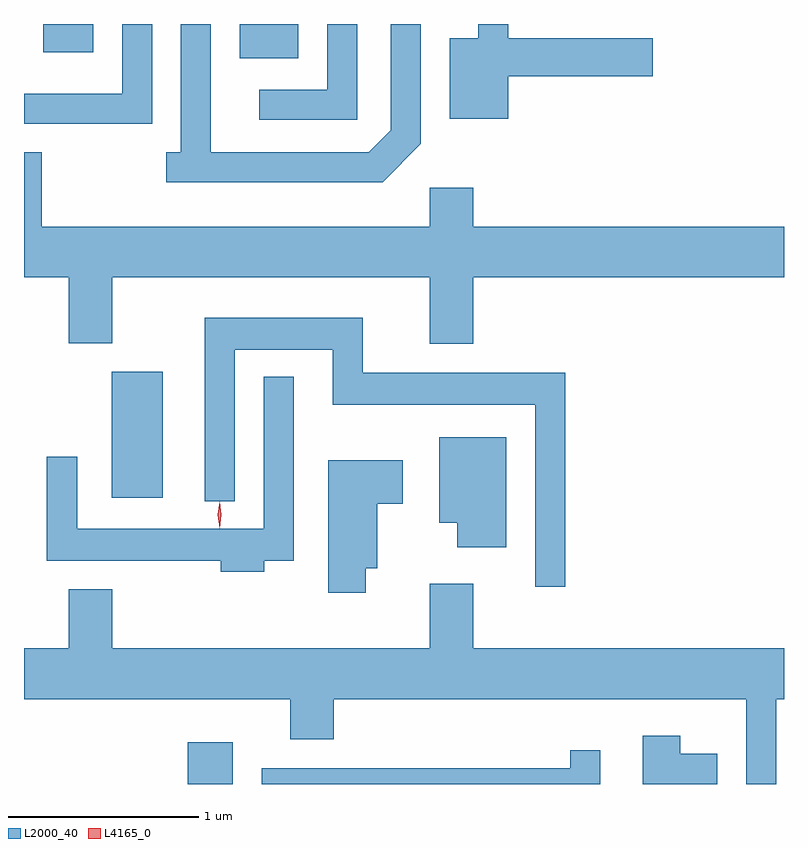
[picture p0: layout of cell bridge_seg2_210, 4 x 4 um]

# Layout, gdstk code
import gdstk
lib = gdstk.Library(unit=1e-6, precision=1e-09)
def R(c, l, rs):  # rectangles x0, y0, x1, y1
    for r in rs: c.add(gdstk.rectangle(r[:2], r[2:], *l))
def P(c, l, *ps):  # polygons
    for p in ps: c.add(gdstk.Polygon(p, *l))
L2000_40 = (2000, 40)
L4165_0 = (4165, 0)

bridge_seg2_210 = lib.new_cell('bridge_seg2_210')
R(bridge_seg2_210, L2000_40, [(543.856,1103.37,544.094,1103.589), (543.456,1104.876,543.724,1105.539), (544.131,1107.191,544.439,1107.37), (543.096,1107.221,543.359,1107.37)])
P(bridge_seg2_210, L2000_40, [(543.669,1107.37),(543.511,1107.37),(543.511,1107.004),(542.995,1107.004),(542.995,1106.846),(543.669,1106.846)],
  [(545.544,1107.096),(546.304,1107.096),(546.304,1107.294),(545.544,1107.294),(545.544,1107.37),(545.386,1107.37),(545.386,1107.294),(545.236,1107.294),(545.236,1106.871),(545.544,1106.871)],
  [(544.749,1107.37),(544.591,1107.37),(544.591,1107.024),(544.233,1107.024),(544.233,1106.866),(544.749,1106.866)],
  [(545.084,1106.739),(545.084,1107.37),(544.926,1107.37),(544.926,1106.812),(544.809,1106.694),(543.979,1106.694),(543.979,1107.37),(543.821,1107.37),(543.821,1106.694),(543.743,1106.694),(543.743,1106.536),(544.882,1106.536)],
  [(545.359,1106.036),(546.995,1106.036),(546.995,1106.304),(545.359,1106.304),(545.359,1106.509),(545.131,1106.509),(545.131,1106.304),(543.089,1106.304),(543.089,1106.694),(542.995,1106.694),(542.995,1106.036),(543.231,1106.036),(543.231,1105.691),(543.459,1105.691),(543.459,1106.036),(545.131,1106.036),(545.131,1105.686),(545.359,1105.686)],
  [(545.844,1105.534),(544.779,1105.534),(544.779,1105.824),(543.946,1105.824),(543.946,1104.858),(544.104,1104.858),(544.104,1105.656),(544.621,1105.656),(544.621,1105.366),(545.686,1105.366),(545.686,1104.408),(545.844,1104.408)],
  [(544.259,1104.546),(544.414,1104.546),(544.414,1105.513),(544.256,1105.513),(544.256,1104.714),(543.274,1104.714),(543.274,1105.093),(543.116,1105.093),(543.116,1104.546),(544.031,1104.546),(544.031,1104.486),(544.259,1104.486)],
  [(545.534,1105.194),(545.181,1105.194),(545.181,1104.746),(545.276,1104.746),(545.276,1104.616),(545.534,1104.616)],
  [(544.794,1104.506),(544.854,1104.506),(544.854,1104.846),(544.989,1104.846),(544.989,1105.074),(544.596,1105.074),(544.596,1104.376),(544.794,1104.376)],
  [(546.954,1103.816),(546.995,1103.816),(546.995,1104.084),(545.359,1104.084),(545.359,1104.424),(545.131,1104.424),(545.131,1104.084),(543.459,1104.084),(543.459,1104.394),(543.231,1104.394),(543.231,1104.084),(542.995,1104.084),(542.995,1103.816),(544.396,1103.816),(544.396,1103.606),(544.624,1103.606),(544.624,1103.816),(546.796,1103.816),(546.796,1103.37),(546.954,1103.37)],
  [(546.644,1103.529),(546.449,1103.529),(546.449,1103.624),(546.251,1103.624),(546.251,1103.37),(546.644,1103.37)],
  [(546.029,1103.548),(545.871,1103.548),(545.871,1103.454),(544.246,1103.454),(544.246,1103.37),(546.029,1103.37)])
P(bridge_seg2_210, L4165_0, [(544.024,1104.717),(544.024,1104.717),(544.015,1104.787),(544.024,1104.856),(544.025,1104.856),(544.025,1104.856),(544.034,1104.786),(544.025,1104.717)],
  [(544.024,1104.719),(544.024,1104.72),(544.014,1104.786),(544.024,1104.852),(544.024,1104.853),(544.025,1104.852),(544.034,1104.786),(544.025,1104.72)])

lib.write_gds('bridge_seg2_210.gds')
